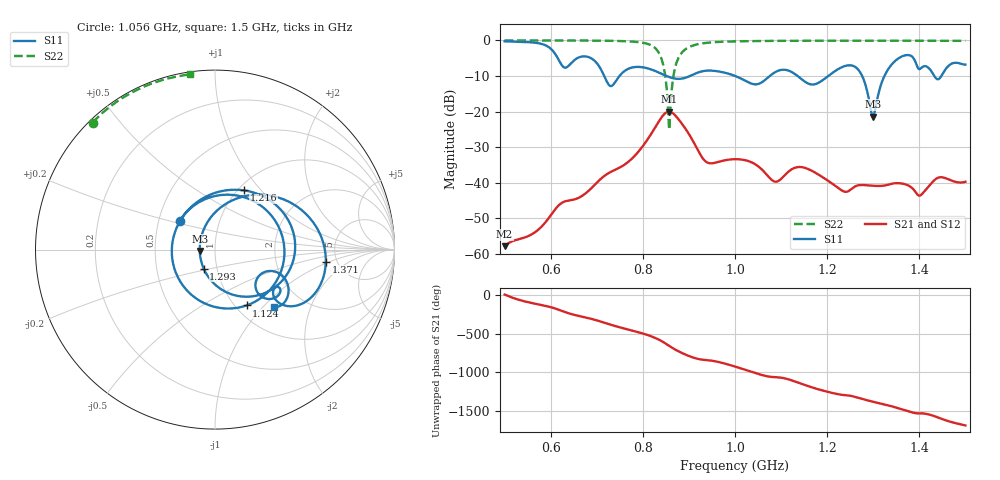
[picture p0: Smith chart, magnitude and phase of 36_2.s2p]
! TOUCHSTONE file generated by CST MICROWAVE STUDIO
! Date and time: Mon Nov 30 09:12:53 2020
! Project name: Scenario_1_Planar_Body_Tissue_Out_of_Line_v2.cst
! Parameters = {dy1=259.5; L_HA=400; Ltissue=700; MT=2.54; Rad_Dielectric=30; Rad_Lower=7.3; Rad_Upper=30; Wtissue=700; a_HA=580; a_WG=246; b_HA=500; b_WG=121; c_HA=0; c_WG=187; d_feed=85; dx1=346; h_feed=15; h_lower=18; h_upper=40; hfat=3; hgap=25; hmuscle=50; hskin=1.5}
! Header version: 2018
! Port assignment regex: !\s*Touchstone port\s*([0-9]+)\s*=\s*(CST MWS port|CST DS port)\s*([0-9]+|Zmin|Zmax)\s*\(\"(.*)\"\)(\s*mode\s*([0-9]+))?.*
! Touchstone port assignment:
! Touchstone port 1 = CST MWS port 1 ("")
! Touchstone port 2 = CST MWS port 2 ("")
# GHz S DB R 50
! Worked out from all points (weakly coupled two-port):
!   1003 points, 500 MHz to 1.5 GHz, reference 50 ohm
!   highest |S21| = -19.99 dB at 857 MHz (marker M1); lowest = -57.8 dB at 500 MHz (marker M2)
!   lowest |S11| = -21.4 dB at 1.299 GHz (marker M3), VSWR 1.19, Z = 42.2 - j0.601 ohm
!   |S11| at or under -10 dB: 851.5 MHz to 902.1 MHz (50.55 MHz wide, 5.76 % of centre); 1.001 GHz to 1.075 GHz (74.82 MHz wide, 7.21 % of centre); 1.136 GHz to 1.202 GHz (66.18 MHz wide, 5.66 % of centre) (the widest 3 of 6)
!   |S22| runs from -25.1 to 0.0 dB; largest |S21 - S12| = 3.3e-06
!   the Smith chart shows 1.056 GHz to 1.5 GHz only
!   S11 on the Smith chart (normalised r, x): 1.056 GHz: 0.64, +0.22; 1.124 GHz: 1.12, -0.80; 1.216 GHz: 1.06, +0.81; 1.293 GHz: 0.86, -0.19; 1.371 GHz: 4.07, -0.89; 1.5 GHz: 1.43, -1.15
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0.5  -0.24 -121.8  -57.79 5.5  -57.79 5.5  -0.01 151.2
0.578  -0.91 -165.0  -52.58 -126.7  -52.58 -126.7  -0.02 145.8
0.667  -4.54 156.9  -43.76 81.2  -43.76 81.2  -0.04 138.4
0.717  -10.23 35.0  -38.00 1.0  -38.00 1.0  -0.09 132.7
0.742  -11.33 -100.0  -36.21 -44.9  -36.21 -44.9  -0.14 128.9
0.773  -7.74 172.2  -33.60 -93.1  -33.60 -93.1  -0.29 122.3
0.834  -8.98 43.1  -22.91 145.6  -22.91 145.6  -3.31 82.7
0.857  -10.28 -16.1  -19.99 63.6  -19.99 63.6  -25.05 -41.4
0.887  -10.67 -106.7  -23.79 -35.3  -23.79 -35.3  -3.09 178.2
0.938  -8.50 88.7  -34.15 -121.1  -34.15 -121.1  -0.68 152.1
1  -9.97 -53.9  -33.36 155.9  -33.36 155.9  -0.27 140.2
1.056  -11.93 141.1  -35.97 50.5  -35.97 50.5  -0.16 133.8
1.097  -8.37 11.8  -39.23 14.5  -39.23 14.5  -0.12 130.0
1.124  -8.94 -60.5  -36.12 -24.6  -36.12 -24.6  -0.11 127.7
1.167  -12.38 178.1  -36.63 -113.1  -36.63 -113.1  -0.10 124.2
1.216  -8.70 64.0  -40.68 168.2  -40.68 168.2  -0.09 120.4
1.254  -7.06 -4.6  -41.57 134.0  -41.57 134.0  -0.09 117.6
1.293  -18.19 -120.7  -40.75 71.1  -40.75 71.1  -0.08 114.6
1.299  -21.38 -175.2  -40.81 62.2  -40.81 62.2  -0.08 114.2
1.334  -7.79 48.5  -40.47 12.4  -40.47 12.4  -0.09 111.5
1.371  -4.14 -6.2  -40.47 -52.6  -40.47 -52.6  -0.09 108.7
1.5  -6.80 -44.0  -39.69 115.1  -39.69 115.1  -0.12 98.0
